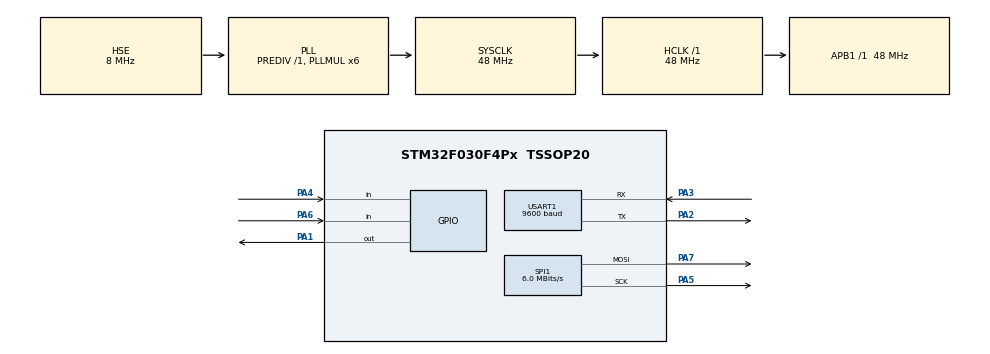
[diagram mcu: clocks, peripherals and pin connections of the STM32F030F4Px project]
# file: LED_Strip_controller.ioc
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Dma.Request0=USART1_RX
Dma.Request1=USART1_TX
Dma.USART1_RX.0.Direction=DMA_PERIPH_TO_MEMORY
Dma.USART1_RX.0.Instance=DMA1_Channel3
Dma.USART1_RX.0.MemDataAlignment=DMA_MDATAALIGN_BYTE
Dma.USART1_RX.0.MemInc=DMA_MINC_ENABLE
Dma.USART1_RX.0.Mode=DMA_NORMAL
Dma.USART1_RX.0.PeriphDataAlignment=DMA_PDATAALIGN_BYTE
Dma.USART1_RX.0.PeriphInc=DMA_PINC_DISABLE
Dma.USART1_RX.0.Priority=DMA_PRIORITY_LOW
Dma.USART1_TX.1.Direction=DMA_MEMORY_TO_PERIPH
Dma.USART1_TX.1.Instance=DMA1_Channel2
Dma.USART1_TX.1.MemDataAlignment=DMA_MDATAALIGN_BYTE
Dma.USART1_TX.1.MemInc=DMA_MINC_ENABLE
Dma.USART1_TX.1.Mode=DMA_NORMAL
Dma.USART1_TX.1.PeriphDataAlignment=DMA_PDATAALIGN_BYTE
Dma.USART1_TX.1.PeriphInc=DMA_PINC_DISABLE
Dma.USART1_TX.1.Priority=DMA_PRIORITY_LOW
Mcu.Family=STM32F0
Mcu.Name=STM32F030F4Px
Mcu.Package=TSSOP20
NVIC.DMA1_Channel2_3_IRQn=true\:0\:0\:false\:false\:true\:false\:true
NVIC.TIM14_IRQn=true\:0\:0\:false\:false\:true\:true\:true
NVIC.USART1_IRQn=true\:0\:0\:true\:false\:true\:true\:true
PA1.Signal=GPIO_Output
PA13.Mode=Serial_Wire
PA13.Signal=SYS_SWDIO
PA14.Mode=Serial_Wire
PA14.Signal=SYS_SWCLK
PA2.GPIO_PuPd=GPIO_PULLUP
PA2.Mode=Asynchronous
PA2.Signal=USART1_TX
PA3.GPIO_PuPd=GPIO_PULLUP
PA3.Mode=Asynchronous
PA3.Signal=USART1_RX
PA4.Signal=GPIO_Input
PA5.GPIO_PuPd=GPIO_PULLUP
PA5.GPIO_Speed=GPIO_SPEED_FREQ_LOW
PA5.Mode=TX_Only_Simplex_Unidirect_Master
PA5.Signal=SPI1_SCK
PA6.GPIO_PuPd=GPIO_PULLUP
PA6.Signal=GPIO_Input
PA7.GPIO_PuPd=GPIO_PULLUP
PA7.GPIO_Speed=GPIO_SPEED_FREQ_HIGH
PA7.Mode=TX_Only_Simplex_Unidirect_Master
PA7.Signal=SPI1_MOSI
PF0-OSC_IN.Mode=HSE-External-Clock-Source
PF0-OSC_IN.Signal=RCC_OSC_IN
ProjectManager.HeapSize=0x200
ProjectManager.StackSize=0x200
ProjectManager.TargetToolchain=STM32CubeIDE
RCC.AHBFreq_Value=48000000
RCC.APB1Freq_Value=48000000
RCC.APB1TimFreq_Value=48000000
RCC.HCLKFreq_Value=48000000
RCC.PLLMUL=RCC_PLL_MUL6
RCC.PLLSourceVirtual=RCC_PLLSOURCE_HSE
RCC.SYSCLKFreq_VALUE=48000000
RCC.SYSCLKSource=RCC_SYSCLKSOURCE_PLLCLK
SPI1.BaudRatePrescaler=SPI_BAUDRATEPRESCALER_8
SPI1.CalculateBaudRate=6.0 MBits/s
SPI1.DataSize=SPI_DATASIZE_8BIT
SPI1.Direction=SPI_DIRECTION_2LINES
SPI1.Mode=SPI_MODE_MASTER
SPI1.NSSPMode=SPI_NSS_PULSE_DISABLE
SPI1.VirtualType=VM_MASTER
TIM14.AutoReloadPreload=TIM_AUTORELOAD_PRELOAD_ENABLE
TIM14.ClockDivision=TIM_CLOCKDIVISION_DIV2
TIM14.Period=999
TIM14.Prescaler=1999
USART1.BaudRate=9600
USART1.VirtualMode-Asynchronous=VM_ASYNC
VP_TIM14_VS_ClockSourceINT.Mode=Enable_Timer
board=custom

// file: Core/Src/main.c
/* USER CODE BEGIN Header */
/**
  ******************************************************************************
  * @file           : main.c
  * @brief          : Main program body
  ******************************************************************************
  * @attention
  *
  * <h2><center>&copy; Copyright (c) 2020 STMicroelectronics.
  * All rights reserved.</center></h2>
  *
  * This software component is licensed by ST under BSD 3-Clause license,
  * the "License"; You may not use this file except in compliance with the
  * License. You may obtain a copy of the License at:
  *                        opensource.org/licenses/BSD-3-Clause
  *
  ******************************************************************************
  */
/* USER CODE END Header */
#include "main.h"

/* USER CODE BEGIN Includes */
#include "ws2812b.h"
#include "bt_at09.h"
#include "queue.h"
#include <string.h>
/* USER CODE END Includes */

SPI_HandleTypeDef hspi1;

TIM_HandleTypeDef htim14;

UART_HandleTypeDef huart1;
DMA_HandleTypeDef hdma_usart1_rx;
DMA_HandleTypeDef hdma_usart1_tx;

/* USER CODE BEGIN PV */
volatile uint8_t isUpdate = 0;
volatile uint8_t updateClockDivider = 1;
effectParamsData effectsArray[8] = {
		{0, {0, 0, 0, 0}, 0, 0, 0}, 										// strip power off
		{1, {COLOR_RED, COLOR_YELLOW, COLOR_LIME, COLOR_BLUE}, 0, 0, 0}, 	// four colors effect
		{2, {COLOR_RED, COLOR_YELLOW, 0, 0}, 0, 0, 1}, 						// two colors effect
		{3, {0, 0, 0, 0}, 255, 255, 0}, 									// smooth color change effect
		{4, {COLOR_WHITE, 0, 0, 0}, 0, 0, 0}, 								// constant color effect
		{5, {COLOR_WHITE, 0, 0, 0}, 0, 0, 0}, 								// blinking color effect
		{6, {COLOR_WHITE, 0, 0, 0}, 0, 0, 15},								// shift color part effect
		{7, {0, 0, 0, 0}, 255, 255, 0}										// rainbow effect
};

effectParamsData currentEffect;
/* USER CODE END PV */

void SystemClock_Config(void);
static void MX_GPIO_Init(void);
static void MX_DMA_Init(void);
static void MX_SPI1_Init(void);
static void MX_USART1_UART_Init(void);
static void MX_TIM14_Init(void);
/* USER CODE BEGIN PFP */
static void updateCurrentEffect(void);
/* USER CODE END PFP */

int main(void)
{
  /* USER CODE BEGIN 1 */
  uint8_t hue = 0;
  uint8_t needToUpdate = 0, isButtonPrevPressed = 0, colorCounter = 0, longPressEffectCounter = 0, shiftOffset = 0,
	      clockCounter = 0, isLongPress = 0, isLongPressDetected = 0, isDeviceBusy = 0;
  uint32_t pressTime = 0;
  uint32_t hard_colors[8] = {COLOR_WHITE, COLOR_RED, COLOR_ORANGE, COLOR_YELLOW, COLOR_GREEN, COLOR_CYAN, COLOR_BLUE, COLOR_PURPLE};
  uint32_t hard_two_colors[2][2] = {{COLOR_RED, COLOR_YELLOW}, {COLOR_GREEN, COLOR_BLUE}};
  uint8_t* commandData;
  /* USER CODE END 1 */

  /* MCU Configuration--------------------------------------------------------*/

  /* Reset of all peripherals, Initializes the Flash interface and the Systick. */
  HAL_Init();

  /* Configure the system clock */
  SystemClock_Config();

  /* Initialize all configured peripherals */
  MX_GPIO_Init();
  MX_DMA_Init();
  MX_SPI1_Init();
  MX_USART1_UART_Init();
  MX_TIM14_Init();
  /* USER CODE BEGIN 2 */
  //init BT module
  bt05_drv->Init();

  // init current effect
  currentEffect = effectsArray[0];
  updateCurrentEffect();
  needToUpdate = 1;

  // enable SPI
  SPI1->CR1 |= SPI_CR1_SPE;

  // start update timer
  HAL_TIM_Base_Start_IT(&htim14);
  /* USER CODE END 2 */

  /* Infinite loop */
  while (1)
  {

    /* USER CODE BEGIN 3 */
	  // handle update event from TIM14
	  if(isUpdate)
	  {
		  isUpdate = 0;
		  //check button
		  if(!isButtonPrevPressed && ((GPIOA->IDR & GPIO_PIN_6) == 0)) // detect button press event
		  {
			  isButtonPrevPressed = 1;
			  pressTime = HAL_GetTick();
		  }
		  if(isButtonPrevPressed && ((GPIOA->IDR & GPIO_PIN_6) == 0)) // count button press duration
		  {
			  if((HAL_GetTick() - pressTime > 500) && !isLongPressDetected)
			  {
				  isLongPress = 1;
				  isLongPressDetected = 1;
			  }
		  }
		  // handle long button press
		  if(isLongPress)
		  {
			  isLongPress = 0;

			  longPressEffectCounter++;
			  if(longPressEffectCounter < 4)  colorCounter = 0; // reset color counter
			  if(longPressEffectCounter == 3) hue = 0; // reset hue value
			  if(longPressEffectCounter == 6) shiftOffset = 0; // reset shiftOffset value
			  if(longPressEffectCounter == EFFECTS_COUNT)
			  {
				  longPressEffectCounter = 0;
			  }
			  currentEffect = effectsArray[longPressEffectCounter];
			  updateCurrentEffect();
			  needToUpdate = 1;
		  }
		  if(isButtonPrevPressed && (GPIOA->IDR & GPIO_PIN_6)) // detect button release event
		  {
			  isButtonPrevPressed = 0;
			  if(isLongPressDetected) // was long press
			  {
				  isLongPressDetected = 0;
			  }
			  else // was short press
			  {
				  colorCounter++;
				  if(longPressEffectCounter > 3) // don't change color counter for 4 first effects
				  {
					  colorCounter &= 0x07;
					  currentEffect.colors[0] = hard_colors[colorCounter];
				  }
				  else if(longPressEffectCounter == 2)
				  {
					  colorCounter &= 0x01;
					  currentEffect.colors[0] = hard_two_colors[colorCounter][0];
					  currentEffect.colors[1] = hard_two_colors[colorCounter][1];
				  }
				  updateCurrentEffect();
				  needToUpdate = 1;
			  }
		  }
		  // check bluetooth BLE input data
		  if(!commands_queue->IsEmpty() && !isDeviceBusy)
		  {
			  commandData = commands_queue->Poll(); // get data from commands queue
			  if(commandData[0] == 0xAA && commandData[17] == 0x0D && commandData[18] == 0x0A) // effect data report received
			  {
				  isDeviceBusy = 1;
				  longPressEffectCounter = commandData[1];
				  currentEffect = effectsArray[longPressEffectCounter];
				  // fill effects arrays
				  currentEffect.effectNum = commandData[1];
				  currentEffect.colors[0] = (commandData[2]<<16)|(commandData[3]<<8)|commandData[4];
				  currentEffect.colors[1] = (commandData[5]<<16)|(commandData[6]<<8)|commandData[7];
				  currentEffect.colors[2] = (commandData[8]<<16)|(commandData[9]<<8)|commandData[10];
				  currentEffect.colors[3] = (commandData[11]<<16)|(commandData[12]<<8)|commandData[13];
				  currentEffect.saturation = commandData[14];
				  currentEffect.value = commandData[15];
				  currentEffect.sectorSize = commandData[16];
				  memset(commandData, 0, DATA_SIZE);

				  if(longPressEffectCounter == 2) hue = 0; // reset hue value
				  if(longPressEffectCounter == 5) shiftOffset = 0; // reset shiftOffset value

				  updateCurrentEffect();
				  needToUpdate = 1;
			  }
			  else if(strstr((char*)commandData, "Get effect"))
			  {
				  // clear buffer
				  memset(commandData, 0, DATA_SIZE);

				  // fill buffer by current effect parameters
				  commandData[0] = 0xAA;
				  commandData[1] = currentEffect.effectNum;
				  commandData[2] = (uint8_t)((currentEffect.colors[0]>>16) & 0x000000FF);
				  commandData[3] = (uint8_t)((currentEffect.colors[0]>>8) & 0x000000FF);
				  commandData[4] = (uint8_t)(currentEffect.colors[0] & 0x000000FF);
				  commandData[5] = (uint8_t)((currentEffect.colors[1]>>16) & 0x000000FF);
				  commandData[6] = (uint8_t)((currentEffect.colors[1]>>8) & 0x000000FF);
				  commandData[7] = (uint8_t)(currentEffect.colors[1] & 0x000000FF);
				  commandData[8] = (uint8_t)((currentEffect.colors[2]>>16) & 0x000000FF);
				  commandData[9] = (uint8_t)((currentEffect.colors[2]>>8) & 0x000000FF);
				  commandData[10] = (uint8_t)(currentEffect.colors[2] & 0x000000FF);
				  commandData[11] = (uint8_t)((currentEffect.colors[3]>>16) & 0x000000FF);
				  commandData[12] = (uint8_t)((currentEffect.colors[3]>>8) & 0x000000FF);
				  commandData[13] = (uint8_t)(currentEffect.colors[3] & 0x000000FF);
				  commandData[14] = currentEffect.saturation;
				  commandData[15] = currentEffect.value;
				  commandData[16] = currentEffect.sectorSize;
				  commandData[17] = 0x0D;
				  commandData[18] = 0x0A;

				  // send data
				  bt05_drv->SendData(commandData, CMD_BUF_LEN);
			  }
		  }
		  // check update
		  if(!isDeviceBusy)
		  {
			  if(clockCounter < updateClockDivider)
			  {
				  clockCounter++;
			  }
			  else
			  {
				  clockCounter = 0;
				  needToUpdate = 1;
			  }
		  }

		  // update strip color state
		  if(needToUpdate)
		  {
			  needToUpdate = 0;
			  // select effect
			  switch(longPressEffectCounter)
			  {
				  case 1: // four color blinking
					  shiftOffset = (shiftOffset + 1) & 0x03;
					  break;

				  case 2: // two color blinking
					  shiftOffset += currentEffect.sectorSize;
					  if(shiftOffset > currentEffect.sectorSize)
						  shiftOffset = 0;
					  break;

				  case 3: // smooth color changing
					  led_strip_drv->setHsvStripColor(hue, currentEffect.saturation, currentEffect.value);
					  hue++;
					  break;

				  case 0: // power off
				  case 4: // constant color
				  case 7: // rainbow
				  default:
					  shiftOffset = 0;
					  break;

				  case 5: // blinking constant color
					  led_strip_drv->setBlinkingStrip(currentEffect.colors[0]);
					  break;

				  case 6: // shifting colored part
					  if(!isDeviceBusy)
					  {
						  if(shiftOffset > 0)
						  {
							  shiftOffset--;
						  }
						  else
						  {
							  shiftOffset = LEDS_COUNT-1;
						  }
					  }
					  break;

			  }
			  // update framebuffer data
			  led_strip_drv->updateFramebuffer(shiftOffset);

			  // reset busy state
			  if(isDeviceBusy)
			  {
				  isDeviceBusy = 0;
				  clockCounter = 0;
				  bt05_drv->SendResponse("Effect set");
			  }
		  }
	  }
  }
  /* USER CODE END 3 */
}

void SystemClock_Config(void)
{
  RCC_OscInitTypeDef RCC_OscInitStruct = {0};
  RCC_ClkInitTypeDef RCC_ClkInitStruct = {0};
  RCC_PeriphCLKInitTypeDef PeriphClkInit = {0};

  /** Initializes the RCC Oscillators according to the specified parameters
  * in the RCC_OscInitTypeDef structure.
  */
  RCC_OscInitStruct.OscillatorType = RCC_OSCILLATORTYPE_HSE;
  RCC_OscInitStruct.HSEState = RCC_HSE_BYPASS;
  RCC_OscInitStruct.PLL.PLLState = RCC_PLL_ON;
  RCC_OscInitStruct.PLL.PLLSource = RCC_PLLSOURCE_HSE;
  RCC_OscInitStruct.PLL.PLLMUL = RCC_PLL_MUL6;
  RCC_OscInitStruct.PLL.PREDIV = RCC_PREDIV_DIV1;
  if (HAL_RCC_OscConfig(&RCC_OscInitStruct) != HAL_OK)
  {
    Error_Handler();
  }
  /** Initializes the CPU, AHB and APB buses clocks
  */
  RCC_ClkInitStruct.ClockType = RCC_CLOCKTYPE_HCLK|RCC_CLOCKTYPE_SYSCLK
                              |RCC_CLOCKTYPE_PCLK1;
  RCC_ClkInitStruct.SYSCLKSource = RCC_SYSCLKSOURCE_PLLCLK;
  RCC_ClkInitStruct.AHBCLKDivider = RCC_SYSCLK_DIV1;
  RCC_ClkInitStruct.APB1CLKDivider = RCC_HCLK_DIV1;

  if (HAL_RCC_ClockConfig(&RCC_ClkInitStruct, FLASH_LATENCY_1) != HAL_OK)
  {
    Error_Handler();
  }
  PeriphClkInit.PeriphClockSelection = RCC_PERIPHCLK_USART1;
  PeriphClkInit.Usart1ClockSelection = RCC_USART1CLKSOURCE_PCLK1;
  if (HAL_RCCEx_PeriphCLKConfig(&PeriphClkInit) != HAL_OK)
  {
    Error_Handler();
  }
}

static void MX_SPI1_Init(void)
{

  /* SPI1 parameter configuration*/
  hspi1.Instance = SPI1;
  hspi1.Init.Mode = SPI_MODE_MASTER;
  hspi1.Init.Direction = SPI_DIRECTION_2LINES;
  hspi1.Init.DataSize = SPI_DATASIZE_16BIT;
  hspi1.Init.CLKPolarity = SPI_POLARITY_LOW;
  hspi1.Init.CLKPhase = SPI_PHASE_1EDGE;
  hspi1.Init.NSS = SPI_NSS_SOFT;
  hspi1.Init.BaudRatePrescaler = SPI_BAUDRATEPRESCALER_8;
  hspi1.Init.FirstBit = SPI_FIRSTBIT_MSB;
  hspi1.Init.TIMode = SPI_TIMODE_DISABLE;
  hspi1.Init.CRCCalculation = SPI_CRCCALCULATION_DISABLE;
  hspi1.Init.CRCPolynomial = 7;
  hspi1.Init.CRCLength = SPI_CRC_LENGTH_DATASIZE;
  hspi1.Init.NSSPMode = SPI_NSS_PULSE_DISABLE;
  if (HAL_SPI_Init(&hspi1) != HAL_OK)
  {
    Error_Handler();
  }

}

static void MX_TIM14_Init(void)
{

  htim14.Instance = TIM14;
  htim14.Init.Prescaler = 1999;
  htim14.Init.CounterMode = TIM_COUNTERMODE_UP;
  htim14.Init.Period = 999;
  htim14.Init.ClockDivision = TIM_CLOCKDIVISION_DIV2;
  htim14.Init.AutoReloadPreload = TIM_AUTORELOAD_PRELOAD_ENABLE;
  if (HAL_TIM_Base_Init(&htim14) != HAL_OK)
  {
    Error_Handler();
  }

}

static void MX_USART1_UART_Init(void)
{

  huart1.Instance = USART1;
  huart1.Init.BaudRate = 9600;
  huart1.Init.WordLength = UART_WORDLENGTH_8B;
  huart1.Init.StopBits = UART_STOPBITS_1;
  huart1.Init.Parity = UART_PARITY_NONE;
  huart1.Init.Mode = UART_MODE_TX_RX;
  huart1.Init.HwFlowCtl = UART_HWCONTROL_NONE;
  huart1.Init.OverSampling = UART_OVERSAMPLING_16;
  huart1.Init.OneBitSampling = UART_ONE_BIT_SAMPLE_DISABLE;
  huart1.AdvancedInit.AdvFeatureInit = UART_ADVFEATURE_NO_INIT;
  if (HAL_UART_Init(&huart1) != HAL_OK)
  {
    Error_Handler();
  }

}

static void MX_DMA_Init(void)
{

  /* DMA controller clock enable */
  __HAL_RCC_DMA1_CLK_ENABLE();

  /* DMA interrupt init */
  /* DMA1_Channel2_3_IRQn interrupt configuration */
  HAL_NVIC_SetPriority(DMA1_Channel2_3_IRQn, 0, 0);
  HAL_NVIC_EnableIRQ(DMA1_Channel2_3_IRQn);

}

static void MX_GPIO_Init(void)
{
  GPIO_InitTypeDef GPIO_InitStruct = {0};

  /* GPIO Ports Clock Enable */
  __HAL_RCC_GPIOF_CLK_ENABLE();
  __HAL_RCC_GPIOA_CLK_ENABLE();

  /*Configure GPIO pin Output Level */
  HAL_GPIO_WritePin(GPIOA, GPIO_PIN_1, GPIO_PIN_RESET);

  /*Configure GPIO pin : PA1 */
  GPIO_InitStruct.Pin = GPIO_PIN_1;
  GPIO_InitStruct.Mode = GPIO_MODE_OUTPUT_PP;
  GPIO_InitStruct.Pull = GPIO_NOPULL;
  GPIO_InitStruct.Speed = GPIO_SPEED_FREQ_LOW;
  HAL_GPIO_Init(GPIOA, &GPIO_InitStruct);

  /*Configure GPIO pin : PA4 */
  GPIO_InitStruct.Pin = GPIO_PIN_4;
  GPIO_InitStruct.Mode = GPIO_MODE_INPUT;
  GPIO_InitStruct.Pull = GPIO_NOPULL;
  HAL_GPIO_Init(GPIOA, &GPIO_InitStruct);

  /*Configure GPIO pin : PA6 */
  GPIO_InitStruct.Pin = GPIO_PIN_6;
  GPIO_InitStruct.Mode = GPIO_MODE_INPUT;
  GPIO_InitStruct.Pull = GPIO_PULLUP;
  HAL_GPIO_Init(GPIOA, &GPIO_InitStruct);

}

/* USER CODE BEGIN 4 */
void HAL_TIM_PeriodElapsedCallback(TIM_HandleTypeDef *htim)
{
	isUpdate = 1;
}

/**
  * @brief  Update LED strip framebuffer for current effect data
  * @param  None
  * @retval None
  */
static void updateCurrentEffect(void)
{
	  switch(currentEffect.effectNum)
	  {
		  case 0: // strip power off
			  led_strip_drv->stripPowerOff();
			  break;

		  case 1: // four color blinking
			  updateClockDivider = 19;
			  led_strip_drv->setStripFourColor(currentEffect.colors);
			  break;

		  case 2: // two color blinking
			  updateClockDivider = 19;
			  led_strip_drv->setStripTwoColor(currentEffect.colors, currentEffect.sectorSize);
			  break;

		  case 3: // smooth color changing
			  updateClockDivider = 2;
			  led_strip_drv->setHsvStripColor(0, currentEffect.saturation, currentEffect.value);
			  break;

		  case 4: // constant color
			  updateClockDivider = 19;
			  led_strip_drv->setStripColor(currentEffect.colors[0]);
			  break;

		  case 5: // blinking constant color
			  updateClockDivider = 0;
			  led_strip_drv->setBlinkingStrip(currentEffect.colors[0]);
			  break;

		  case 6: // shifting colored part
			  updateClockDivider = 1;
			  led_strip_drv->setStripPartColor(currentEffect.colors[0], currentEffect.sectorSize);
			  break;

		  case 7: // rainbow
			  updateClockDivider = 19;
			  led_strip_drv->setHsvSequence(currentEffect.value);
			  break;
	  }
}
/* USER CODE END 4 */

void Error_Handler(void)
{
}
